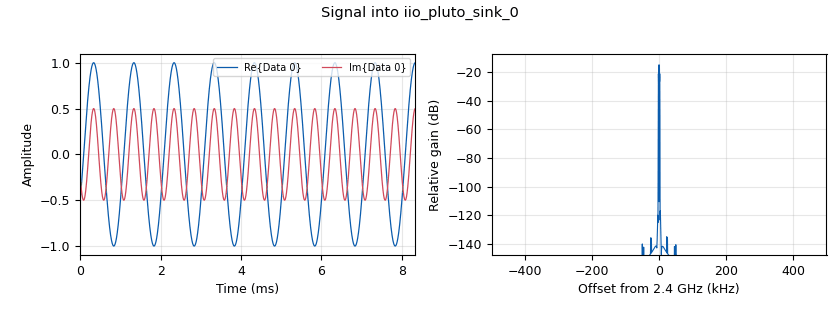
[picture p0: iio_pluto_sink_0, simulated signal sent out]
options:
  parameters:
    author: wcc
    generate_options: qt_gui
    id: lab3_antsdr_tone
    output_language: python
    title: lab3_antsdr_tone
  states: {}

blocks:
- name: amp_0
  id: variable_qtgui_range
  parameters:
    label: Amplitude0
    orient: Qt.Horizontal
    start: '0'
    step: '0.05'
    stop: '1'
    value: '1'
  states: {}
- name: amp_1
  id: variable_qtgui_range
  parameters:
    label: Amplitude1
    orient: Qt.Horizontal
    start: '0'
    step: '0.05'
    stop: '1'
    value: '0.5'
  states: {}
- name: freq_0
  id: variable_qtgui_range
  parameters:
    label: Frequency0
    orient: Qt.Horizontal
    rangeType: int
    start: '0'
    step: '50'
    stop: '2000'
    value: '1000'
  states: {}
- name: freq_1
  id: variable_qtgui_range
  parameters:
    label: Frequency1
    orient: Qt.Horizontal
    rangeType: int
    start: '0'
    step: '50'
    stop: '2000'
    value: '2000'
  states: {}
- name: samp_rate
  id: variable
  parameters:
    value: '1000000'
  states: {}
- name: analog_sig_source_x_0
  id: analog_sig_source_x
  parameters:
    amp: amp_0
    freq: freq_0
    offset: '0'
    phase: '0'
    samp_rate: samp_rate
    type: float
    waveform: analog.GR_COS_WAVE
  states: {}
- name: analog_sig_source_x_0_0
  id: analog_sig_source_x
  parameters:
    amp: amp_1
    freq: freq_1
    offset: '0'
    phase: '0'
    samp_rate: samp_rate
    type: float
    waveform: analog.GR_COS_WAVE
  states: {}
- name: blocks_float_to_complex_0
  id: blocks_float_to_complex
  parameters: {}
  states: {}
- name: iio_pluto_sink_0
  id: iio_pluto_sink
  parameters:
    attenuation1: '10.0'
    auto_filter: 'True'
    bandwidth: '2000000'
    buffer_size: '32768'
    cyclic: 'False'
    frequency: '2400000000'
    samplerate: samp_rate
    uri: uri
  states: {}
- name: iio_pluto_source_0
  id: iio_pluto_source
  parameters:
    auto_filter: 'True'
    bandwidth: '2000000'
    bbdc: 'True'
    buffer_size: '32768'
    frequency: '2400000000'
    gain1: '''fast_attack'''
    quadrature: 'True'
    rfdc: 'True'
    samplerate: samp_rate
    uri: uri
  states: {}
- name: qtgui_freq_sink_x_0
  id: qtgui_freq_sink_x
  parameters:
    autoscale: 'True'
    average: '0.1'
    bw: samp_rate/10
    fc: '0'
    fftsize: '1024'
    label1: tx siganl
    label2: rx_signal
    name: '"spectrum"'
    nconnections: '2'
    type: complex
    wintype: firdes.WIN_BLACKMAN_hARRIS
  states: {}
- name: qtgui_time_sink_x_0
  id: qtgui_time_sink_x
  parameters:
    label1: tx_i
    label2: tx_q
    label3: rx_i
    label4: rx_q
    name: '"scope"'
    nconnections: '2'
    size: '1024'
    srate: samp_rate/10
    type: complex
  states: {}
- name: uri
  id: parameter
  parameters:
    label: URI
    type: str
    value: ip:192.168.1.10
  states: {}

connections:
- [analog_sig_source_x_0, '0', blocks_float_to_complex_0, '0']
- [analog_sig_source_x_0_0, '0', blocks_float_to_complex_0, '1']
- [blocks_float_to_complex_0, '0', iio_pluto_sink_0, '0']
- [blocks_float_to_complex_0, '0', qtgui_freq_sink_x_0, '0']
- [blocks_float_to_complex_0, '0', qtgui_time_sink_x_0, '0']
- [iio_pluto_source_0, '0', qtgui_freq_sink_x_0, '1']
- [iio_pluto_source_0, '0', qtgui_time_sink_x_0, '1']

metadata:
  file_format: 1
